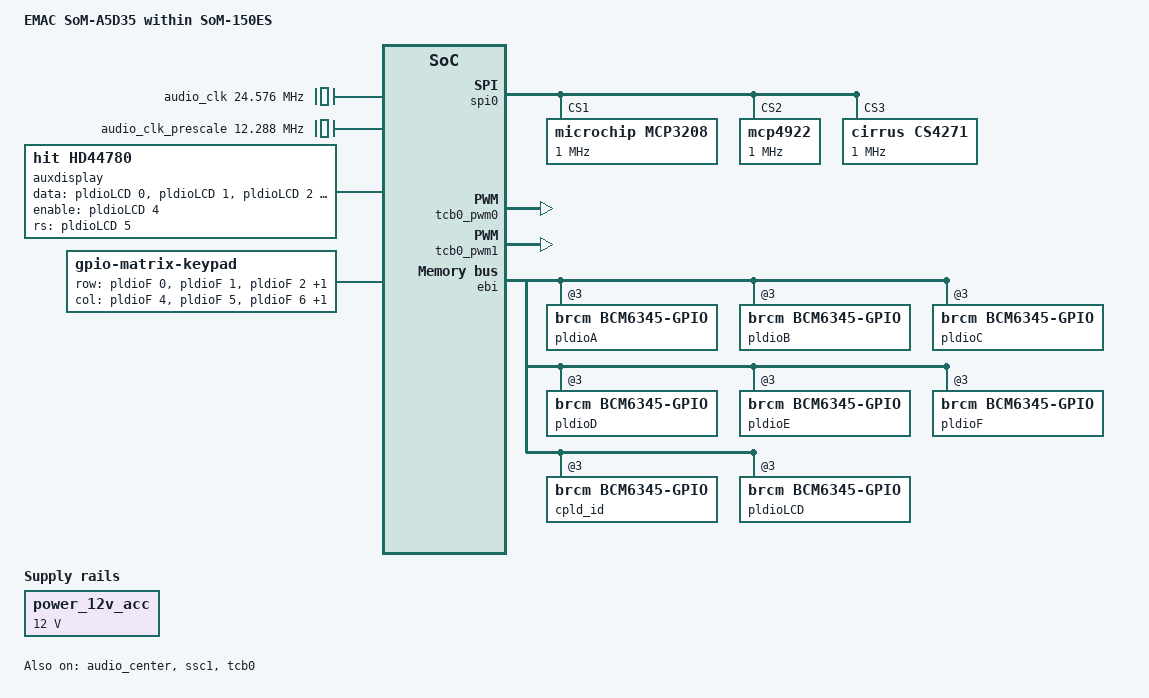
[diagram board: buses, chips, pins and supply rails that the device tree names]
// SPDX-License-Identifier: GPL-2.0-or-later
/*
 * som-a5d35-150es.dts - Device Tree file for the SOM-A5D35 w/ a 150es EMAC Carrier.
 *
 * Copyright (C) 2023 EMAC Inc.
 *
 */

/dts-v1/;
#include "som-a5d35-1xx.dts"

/{
    model = "EMAC SoM-A5D35 within SoM-150ES";

    clocks {
        audio_clk: oscillator-cpld-in { // always on, fed into cpld and turned into prescale-a
			compatible = "fixed-clock";
			#clock-cells = <0>;
			clock-output-names = "osc-a";
			clock-frequency = <24576000>;
		};
        audio_clk_prescale: oscillator-cpld-out { // always on...
			compatible = "fixed-clock";
			#clock-cells = <0>;
			clock-output-names = "prescale-a";
			clock-frequency = <12288000>;
		};
        clk_200khz: clk-200khz {
            compatible = "pwm-clock";
            #clock-cells = <0>;
            clock-frequency = <200000>;
            pwms = <&tcb0_pwm0 1 5000 0>; /* 200 kHz */
        };
        clk_8mhz: clk-8mhz {
            compatible = "pwm-clock";
            #clock-cells = <0>;
            clock-frequency = <8000000>;
            pwms = <&tcb0_pwm1 0 125 0>; /* 8 MHz */
        };
    };
    regulators {
        power_12v_acc: carrier-12v-acc@9 {
			compatible = "regulator-fixed";
            reg = <9>;
			regulator-name = "12V_ACC";
			regulator-min-microvolt = <12000000>;
			regulator-max-microvolt = <12000000>;
		};
    };

    auxdisplay {
        compatible = "hit,hd44780";

        data-gpios = <&pldioLCD 0 GPIO_ACTIVE_HIGH>,
                    <&pldioLCD 1 GPIO_ACTIVE_HIGH>,
                    <&pldioLCD 2 GPIO_ACTIVE_HIGH>,
                    <&pldioLCD 3 GPIO_ACTIVE_HIGH>;
        enable-gpios = <&pldioLCD 4 GPIO_ACTIVE_HIGH>;
        rs-gpios = <&pldioLCD 5 GPIO_ACTIVE_HIGH>;

        display-height-chars = <2>;
        display-width-chars = <16>;
        status = "okay";
    };

    matrix-keypad {
        compatible = "gpio-matrix-keypad";
        pinctrl-names = "default";
		pinctrl-0 = <&pinctrl_keypad_irq>;
        debounce-delay-ms = <5>;
        col-scan-delay-us = <2>;
        wakeup-source = <&pioE 31 0>;
        status = "okay";

        row-gpios = <&pldioF 0 0
                    &pldioF 1 0
                    &pldioF 2 0
                    &pldioF 3 0>;

        col-gpios = <&pldioF 4 0
                    &pldioF 5 0
                    &pldioF 6 0
                    &pldioF 7 0>;

        linux,keymap = <0x0000001e /*A*/
                0x01000008 /*7*/
                0x02000005 /*4*/
                0x03000002 /*1*/
                0x0001000b /*0*/
                0x01010009 /*8*/
                0x02010006 /*5*/
                0x03010003 /*2*/
                0x00020030 /*B*/
                0x0102000a /*9*/
                0x02020007 /*6*/
                0x03020004 /*3*/
                0x00030021 /*F*/
                0x01030012 /*E*/
                0x02030020 /*D*/
                0x0303002e /*C*/
                >;
    };
};
&audio_center {
    status = "okay";
	simple-audio-card,name = "cs4271";
    simple-audio-card,bitclock-master = <&codec_master>;
	simple-audio-card,frame-master = <&codec_master>;
    codec_master: simple-audio-card,codec {
        sound-dai = <&cs4271>;
    };
};

&ssc1 {
    status = "okay";
};

&mmc1 {
    slot@0 {
        cd-gpios = <&pioC 13 GPIO_ACTIVE_LOW>;
    };
};
&spi0 {
    mcp3208: mcp320x@1 {
        compatible = "microchip,mcp3208";
        spi-max-frequency = <1000000>;
        spi-cpol;
        spi-cpha;
        reg = <1>;
        status = "okay";
    };

    mcp4922: mcp49x2@2 {
        compatible = "mcp4922";
        spi-max-frequency = <1000000>;
        spi-cpol;
        spi-cpha;
        reg = <2>;
        vref = <&adc_vref>;
        status = "okay";
    };

    cs4271: cs4271@3 {
        #sound-dai-cells = <0>;
        compatible = "cirrus,cs4271";
        spi-cpol;
        spi-cpha;
        reg = <3>;
        clocks = <&audio_clk_prescale>;
        spi-max-frequency = <1000000>;
        status = "okay";
    };
};

&usart3 {
    // CPLD isnt working
    // rts-gpios = <&pldioD 0 GPIO_ACTIVE_LOW>;
    // cts-gpios = <&pldioD 1 GPIO_ACTIVE_LOW>;
};

&tcb0 {
    status = "okay";
    tcb0_pwm0: pwm@1 {
        compatible = "atmel,tcb-pwm";
        #pwm-cells = <3>;
        reg = <0>;
        pinctrl-names = "default";
		pinctrl-0 = <&pinctrl_tcb0_tiob0>;
        status = "okay";
    };
    tcb0_pwm1: pwm@2 {
        compatible = "atmel,tcb-pwm";
        #pwm-cells = <3>;
        reg = <1>;
        pinctrl-names = "default";
		pinctrl-0 = <&pinctrl_tcb0_tioa1>;
        status = "okay";
    };
};

&ebi {
    pinctrl-names = "default";
	pinctrl-0 = <&pinctrl_ebi_addr_6>;
    status = "okay";
    pldioA: cpld@3,2 {
        compatible = "brcm,bcm6345-gpio";
        reg-names = "dat", "dirout";
        reg = <3 2 1>, <3 3 1>;
        gpio-controller;
        #gpio-cells = <2>;
        #address-cells = <1>;
        #size-cells = <1>;
        bank-width = <1>;

        atmel,smc-read-mode = "nrd";
        atmel,smc-write-mode = "nwe";
        atmel,smc-bus-width = <8>;

        atmel,smc-ncs-rd-setup-ns = <8>;
        atmel,smc-nrd-setup-ns = <16>;
        atmel,smc-ncs-wr-setup-ns = <8>;
        atmel,smc-nwe-setup-ns = <16>;
        atmel,smc-ncs-rd-pulse-ns = <40>;
        atmel,smc-nrd-pulse-ns = <24>;
        atmel,smc-ncs-wr-pulse-ns = <40>;
        atmel,smc-nwe-pulse-ns = <24>;
        atmel,smc-nwe-cycle-ns = <64>;
        atmel,smc-nrd-cycle-ns = <64>;
        atmel,smc-tdf-ns = <16>;
    };

    
    pldioB: cpld@3,4 {
        compatible = "brcm,bcm6345-gpio";
        reg-names = "dat", "dirout";
        reg = <3 4 1>, <3 5 1>;
        gpio-controller;
        #address-cells = <1>;
        #size-cells = <1>;
        #gpio-cells = <2>;
        bank-width = <1>;

        atmel,smc-read-mode = "nrd";
        atmel,smc-write-mode = "nwe";
        atmel,smc-bus-width = <8>;

        atmel,smc-ncs-rd-setup-ns = <8>;
        atmel,smc-nrd-setup-ns = <16>;
        atmel,smc-ncs-wr-setup-ns = <8>;
        atmel,smc-nwe-setup-ns = <16>;
        atmel,smc-ncs-rd-pulse-ns = <40>;
        atmel,smc-nrd-pulse-ns = <24>;
        atmel,smc-ncs-wr-pulse-ns = <40>;
        atmel,smc-nwe-pulse-ns = <24>;
        atmel,smc-nwe-cycle-ns = <64>;
        atmel,smc-nrd-cycle-ns = <64>;
        atmel,smc-tdf-ns = <16>;
    };

    pldioC: cpld@3,6 {
        compatible = "brcm,bcm6345-gpio";
        reg-names = "dat";
        reg = <3 6 1>;
        gpio-controller;
        no-input;
        #address-cells = <1>;
        #size-cells = <1>;
        #gpio-cells = <2>;
        bank-width = <1>;

        atmel,smc-read-mode = "nrd";
        atmel,smc-write-mode = "nwe";
        atmel,smc-bus-width = <8>;

        atmel,smc-ncs-rd-setup-ns = <8>;
        atmel,smc-nrd-setup-ns = <16>;
        atmel,smc-ncs-wr-setup-ns = <8>;
        atmel,smc-nwe-setup-ns = <16>;
        atmel,smc-ncs-rd-pulse-ns = <40>;
        atmel,smc-nrd-pulse-ns = <24>;
        atmel,smc-ncs-wr-pulse-ns = <40>;
        atmel,smc-nwe-pulse-ns = <24>;
        atmel,smc-nwe-cycle-ns = <64>;
        atmel,smc-nrd-cycle-ns = <64>;
        atmel,smc-tdf-ns = <16>;
    };


    pldioD: cpld@3,8 {
        compatible = "brcm,bcm6345-gpio";
        reg-names = "dat";
        reg = <3 8 1>;
        gpio-controller;
        no-input;
        #address-cells = <1>;
        #size-cells = <1>;
        #gpio-cells = <2>;
        bank-width = <1>;

        atmel,smc-read-mode = "nrd";
        atmel,smc-write-mode = "nwe";
        atmel,smc-bus-width = <8>;

        atmel,smc-ncs-rd-setup-ns = <8>;
        atmel,smc-nrd-setup-ns = <16>;
        atmel,smc-ncs-wr-setup-ns = <8>;
        atmel,smc-nwe-setup-ns = <16>;
        atmel,smc-ncs-rd-pulse-ns = <40>;
        atmel,smc-nrd-pulse-ns = <24>;
        atmel,smc-ncs-wr-pulse-ns = <40>;
        atmel,smc-nwe-pulse-ns = <24>;
        atmel,smc-nwe-cycle-ns = <64>;
        atmel,smc-nrd-cycle-ns = <64>;
        atmel,smc-tdf-ns = <16>;
    };

    pldioE: cpld@3,10 {
        compatible = "brcm,bcm6345-gpio";
        reg-names = "dat", "dirout";
        reg = <3 10 1>, <3 11 1>;
        gpio-controller;
        #address-cells = <1>;
        #size-cells = <1>;
        #gpio-cells = <2>;
        bank-width = <1>;

        atmel,smc-read-mode = "nrd";
        atmel,smc-write-mode = "nwe";
        atmel,smc-bus-width = <8>;

        atmel,smc-ncs-rd-setup-ns = <8>;
        atmel,smc-nrd-setup-ns = <16>;
        atmel,smc-ncs-wr-setup-ns = <8>;
        atmel,smc-nwe-setup-ns = <16>;
        atmel,smc-ncs-rd-pulse-ns = <40>;
        atmel,smc-nrd-pulse-ns = <24>;
        atmel,smc-ncs-wr-pulse-ns = <40>;
        atmel,smc-nwe-pulse-ns = <24>;
        atmel,smc-nwe-cycle-ns = <64>;
        atmel,smc-nrd-cycle-ns = <64>;
        atmel,smc-tdf-ns = <16>;
    };

    pldioF: cpld@3,7 {
        compatible = "brcm,bcm6345-gpio";
        reg-names = "dat";
        reg = <3 7 1>;
        gpio-controller;
        #address-cells = <1>;
        #size-cells = <1>;
        #gpio-cells = <2>;
        bank-width = <1>;

        atmel,smc-read-mode = "nrd";
        atmel,smc-write-mode = "nwe";
        atmel,smc-bus-width = <8>;

        atmel,smc-ncs-rd-setup-ns = <8>;
        atmel,smc-nrd-setup-ns = <16>;
        atmel,smc-ncs-wr-setup-ns = <8>;
        atmel,smc-nwe-setup-ns = <16>;
        atmel,smc-ncs-rd-pulse-ns = <40>;
        atmel,smc-nrd-pulse-ns = <24>;
        atmel,smc-ncs-wr-pulse-ns = <40>;
        atmel,smc-nwe-pulse-ns = <24>;
        atmel,smc-nwe-cycle-ns = <64>;
        atmel,smc-nrd-cycle-ns = <64>;
        atmel,smc-tdf-ns = <16>;        
    };

    cpld_id: cpld@3,0xf {
        compatible = "brcm,bcm6345-gpio";
        reg-names = "dat";
        reg = <3 0xf 1>;
        gpio-controller;
        no-input;
        #address-cells = <1>;
        #size-cells = <1>;
        #gpio-cells = <2>;
        bank-width = <1>;

        atmel,smc-read-mode = "nrd";
        atmel,smc-write-mode = "nwe";
        atmel,smc-bus-width = <8>;

        atmel,smc-ncs-rd-setup-ns = <8>;
        atmel,smc-nrd-setup-ns = <16>;
        atmel,smc-ncs-wr-setup-ns = <8>;
        atmel,smc-nwe-setup-ns = <16>;
        atmel,smc-ncs-rd-pulse-ns = <40>;
        atmel,smc-nrd-pulse-ns = <24>;
        atmel,smc-ncs-wr-pulse-ns = <40>;
        atmel,smc-nwe-pulse-ns = <24>;
        atmel,smc-nwe-cycle-ns = <64>;
        atmel,smc-nrd-cycle-ns = <64>;
        atmel,smc-tdf-ns = <16>;
    };

    pldioLCD: cpld@3,0 {
        compatible = "brcm,bcm6345-gpio";
        reg-names = "dat", "dirout";
        reg = <3 0 1>, <3 1 1>;
        gpio-controller;
        #gpio-cells = <2>;
        #address-cells = <1>;
        #size-cells = <1>;
        bank-width = <1>;

        atmel,smc-read-mode = "nrd";
        atmel,smc-write-mode = "nwe";
        atmel,smc-bus-width = <8>;
        atmel,smc-ncs-rd-setup-ns = <8>;
        atmel,smc-nwe-setup-ns = <27>;
        atmel,smc-ncs-wr-setup-ns = <16>;
        atmel,smc-nrd-setup-ns = <6>;
        atmel,smc-ncs-rd-pulse-ns = <6>;
        atmel,smc-nrd-pulse-ns = <6>;
        atmel,smc-ncs-wr-pulse-ns = <81>;
        atmel,smc-nwe-pulse-ns = <94>;
        atmel,smc-nwe-cycle-ns = <128>;
        atmel,smc-nrd-cycle-ns = <14>;
        atmel,smc-tdf-ns = <15>;
    };
};

&pinctrl {
    ebi {
        pinctrl_ebi_addr_6: ebi-addr-6 {
			atmel,pins =
				<AT91_PIOE 0 AT91_PERIPH_A AT91_PINCTRL_NONE
					AT91_PIOE 1 AT91_PERIPH_A AT91_PINCTRL_NONE
					AT91_PIOE 2 AT91_PERIPH_A AT91_PINCTRL_NONE
					AT91_PIOE 3 AT91_PERIPH_A AT91_PINCTRL_NONE
					AT91_PIOE 4 AT91_PERIPH_A AT91_PINCTRL_NONE
					AT91_PIOE 5 AT91_PERIPH_A AT91_PINCTRL_NONE>;
		};
        pinctrl_keypad_irq: keypad-irq {
			atmel,pins =
				<AT91_PIOE 31 AT91_PERIPH_GPIO AT91_PINCTRL_DEBOUNCE>;
		};
    };
    tcb0 {
        pinctrl_tcb0_tiob0: tcb0_tiob0 {
            atmel,pins =
                <AT91_PIOD 6 AT91_PERIPH_B AT91_PINCTRL_NONE>;
        };
        pinctrl_tcb0_tioa1: tcb0_tioa1 {
            atmel,pins =
                <AT91_PIOC 12 AT91_PERIPH_B AT91_PINCTRL_NONE>;
        };
    };
};
